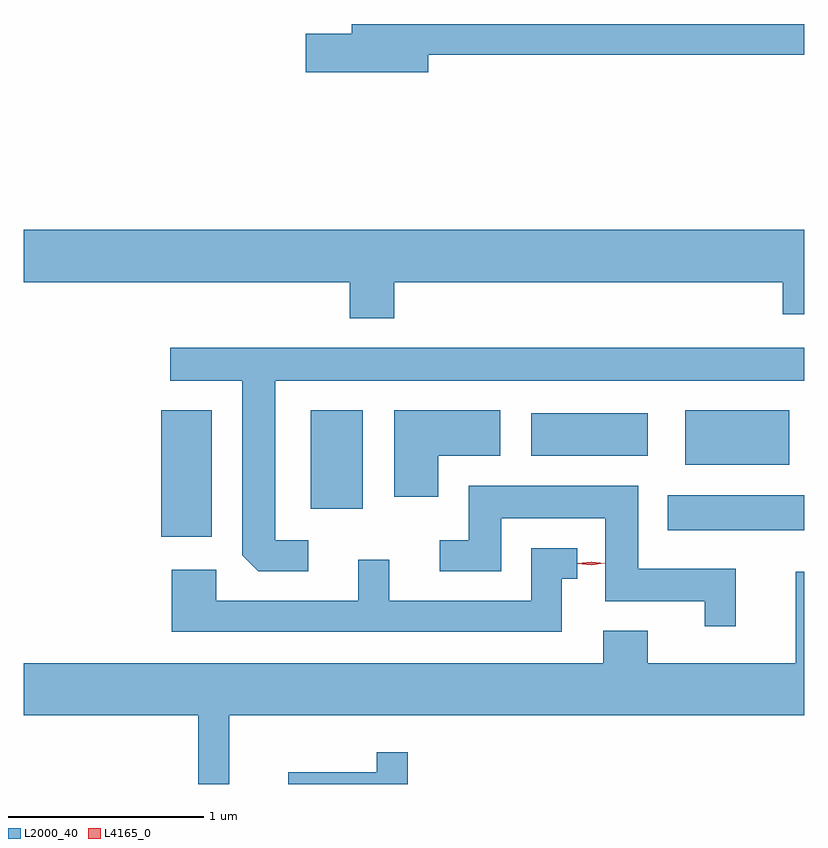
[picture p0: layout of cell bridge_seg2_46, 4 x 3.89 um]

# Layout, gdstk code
import gdstk
lib = gdstk.Library(unit=1e-6, precision=1e-09)
def R(c, l, rs):  # rectangles x0, y0, x1, y1
    for r in rs: c.add(gdstk.rectangle(r[:2], r[2:], *l))
def P(c, l, *ps):  # polygons
    for p in ps: c.add(gdstk.Polygon(p, *l))
L2000_40 = (2000, 40)
L4165_0 = (4165, 0)

bridge_seg2_46 = lib.new_cell('bridge_seg2_46')
R(bridge_seg2_46, L2000_40, [(1419.616,1053.671,1419.874,1054.319), (1422.211,1053.706,1422.911,1053.884), (1420.381,1053.816,1420.649,1054.319), (1422.301,1054.041,1422.834,1054.319), (1421.511,1054.086,1422.109,1054.304)])
P(bridge_seg2_46, L2000_40, [(1420.984,1056.141),(1422.911,1056.141),(1422.911,1056.299),(1420.591,1056.299),(1420.591,1056.249),(1420.356,1056.249),(1420.356,1056.051),(1420.984,1056.051)],
  [(1420.809,1054.976),(1422.801,1054.976),(1422.801,1054.811),(1422.911,1054.811),(1422.911,1055.244),(1418.911,1055.244),(1418.911,1054.976),(1420.581,1054.976),(1420.581,1054.791),(1420.809,1054.791)],
  [(1420.368,1053.654),(1420.199,1053.654),(1420.199,1054.471),(1422.911,1054.471),(1422.911,1054.639),(1419.663,1054.639),(1419.663,1054.471),(1420.031,1054.471),(1420.031,1053.577),(1420.112,1053.496),(1420.368,1053.496)],
  [(1421.034,1054.086),(1421.354,1054.086),(1421.354,1054.319),(1420.811,1054.319),(1420.811,1053.876),(1421.034,1053.876)],
  [(1422.559,1053.509),(1422.059,1053.509),(1422.059,1053.934),(1421.191,1053.934),(1421.191,1053.654),(1421.043,1053.654),(1421.043,1053.496),(1421.359,1053.496),(1421.359,1053.766),(1421.891,1053.766),(1421.891,1053.341),(1422.401,1053.341),(1422.401,1053.213),(1422.559,1053.213)],
  [(1421.669,1053.456),(1421.748,1053.456),(1421.748,1053.614),(1421.511,1053.614),(1421.511,1053.344),(1420.784,1053.344),(1420.784,1053.553),(1420.626,1053.553),(1420.626,1053.344),(1419.899,1053.344),(1419.899,1053.504),(1419.671,1053.504),(1419.671,1053.186),(1421.669,1053.186)],
  [(1419.964,1052.756),(1422.911,1052.756),(1422.911,1053.493),(1422.866,1053.493),(1422.866,1053.024),(1422.109,1053.024),(1422.109,1053.189),(1421.881,1053.189),(1421.881,1053.024),(1418.911,1053.024),(1418.911,1052.756),(1419.806,1052.756),(1419.806,1052.405),(1419.964,1052.405)],
  [(1420.879,1052.568),(1420.721,1052.568),(1420.721,1052.464),(1420.266,1052.464),(1420.266,1052.405),(1420.879,1052.405)])
P(bridge_seg2_46, L4165_0, [(1421.818,1053.525),(1421.749,1053.534),(1421.749,1053.535),(1421.749,1053.535),(1421.818,1053.545),(1421.888,1053.536),(1421.888,1053.536),(1421.888,1053.535)])

lib.write_gds('bridge_seg2_46.gds')
